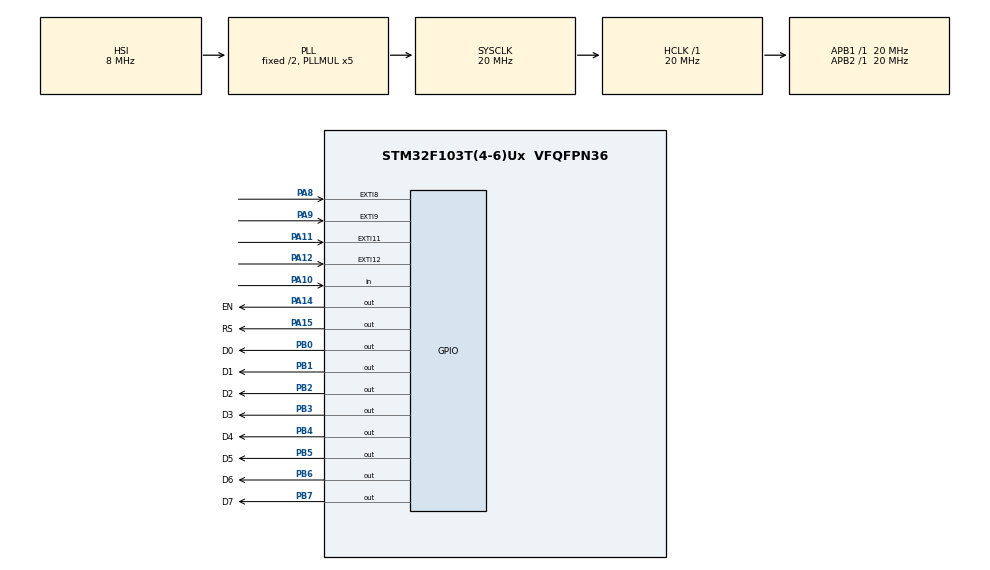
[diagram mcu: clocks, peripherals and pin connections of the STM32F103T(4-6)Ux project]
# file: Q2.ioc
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Mcu.Family=STM32F1
Mcu.Name=STM32F103T(4-6)Ux
Mcu.Package=VFQFPN36
NVIC.EXTI15_10_IRQn=true\:0\:0\:false\:false\:true\:true\:true\:true
NVIC.EXTI9_5_IRQn=true\:0\:0\:false\:false\:true\:true\:true\:true
NVIC.PriorityGroup=NVIC_PRIORITYGROUP_4
PA10.Signal=GPIO_Input
PA11.GPIO_ModeDefaultEXTI=GPIO_MODE_IT_FALLING
PA11.Signal=GPXTI11
PA12.Signal=GPXTI12
PA14.GPIO_Label=EN
PA14.Signal=GPIO_Output
PA15.GPIO_Label=RS
PA15.Signal=GPIO_Output
PA8.GPIO_ModeDefaultEXTI=GPIO_MODE_IT_FALLING
PA8.Signal=GPXTI8
PA9.Signal=GPXTI9
PB0.GPIO_Label=D0
PB0.Signal=GPIO_Output
PB1.GPIO_Label=D1
PB1.Signal=GPIO_Output
PB2.GPIO_Label=D2
PB2.Signal=GPIO_Output
PB3.GPIO_Label=D3
PB3.Signal=GPIO_Output
PB4.GPIO_Label=D4
PB4.Signal=GPIO_Output
PB5.GPIO_Label=D5
PB5.Signal=GPIO_Output
PB6.GPIO_Label=D6
PB6.Signal=GPIO_Output
PB7.GPIO_Label=D7
PB7.Signal=GPIO_Output
PD0-OSC_IN.Mode=HSE-External-Oscillator
PD0-OSC_IN.Signal=RCC_OSC_IN
PD1-OSC_OUT.Mode=HSE-External-Oscillator
PD1-OSC_OUT.Signal=RCC_OSC_OUT
ProjectManager.HeapSize=0x200
ProjectManager.StackSize=0x400
ProjectManager.TargetToolchain=STM32CubeIDE
RCC.AHBFreq_Value=20000000
RCC.APB1Freq_Value=20000000
RCC.APB1TimFreq_Value=20000000
RCC.APB2Freq_Value=20000000
RCC.APB2TimFreq_Value=20000000
RCC.HCLKFreq_Value=20000000
RCC.PLLMUL=RCC_PLL_MUL5
RCC.SYSCLKFreq_VALUE=20000000
RCC.SYSCLKSource=RCC_SYSCLKSOURCE_PLLCLK
RCC.USBFreq_Value=20000000
VP_SYS_VS_ND.Mode=No_Debug
VP_TIM1_VS_ClockSourceINT.Mode=Internal
board=custom

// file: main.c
/* USER CODE BEGIN Header */
/**
  ******************************************************************************
  * @file           : main.c
  * @brief          : Main program body
  ******************************************************************************
  * @attention
  *
  * <h2><center>&copy; Copyright (c) 2022 STMicroelectronics.
  * All rights reserved.</center></h2>
  *
  * This software component is licensed by ST under BSD 3-Clause license,
  * the "License"; You may not use this file except in compliance with the
  * License. You may obtain a copy of the License at:
  *                        opensource.org/licenses/BSD-3-Clause
  *
  ******************************************************************************
  */
/* USER CODE END Header */

#include "main.h"

/* USER CODE BEGIN Includes */
#include "lcd.h"

/* USER CODE END Includes */

TIM_HandleTypeDef htim1;

void SystemClock_Config(void);
static void MX_GPIO_Init(void);
static void MX_TIM1_Init(void);

/* USER CODE BEGIN 0 */
int cw=0;
int x=0;
int F;
float rpm;
int counter=0;
float measure_x1=0,measure_x2=0,measure_x4=0;

/* USER CODE END 0 */

int main(void)
{

  /* MCU Configuration--------------------------------------------------------*/

  /* Reset of all peripherals, Initializes the Flash interface and the Systick. */
  HAL_Init();

  /* Configure the system clock */
  SystemClock_Config();

  /* Initialize all configured peripherals */
  MX_GPIO_Init();
  MX_TIM1_Init();
  /* USER CODE BEGIN 2 */
  HAL_TIM_Base_Start_IT(&htim1);
  Lcd_PortType ports[]={D0_GPIO_Port,D1_GPIO_Port, D2_GPIO_Port, D3_GPIO_Port, D4_GPIO_Port, D5_GPIO_Port, D6_GPIO_Port, D7_GPIO_Port};
  Lcd_PinType pins[]={D0_Pin, D1_Pin, D2_Pin, D3_Pin, D4_Pin, D5_Pin, D6_Pin, D7_Pin};
  Lcd_HandleTypeDef lcd = Lcd_create(ports, pins, RS_GPIO_Port, RS_Pin, EN_GPIO_Port, EN_Pin, LCD_8_BIT_MODE);

  /* USER CODE END 2 */

  /* Infinite loop */
  /* USER CODE BEGIN WHILE */
  while (1)
  {
	  Lcd_clear(&lcd);
	  F=(1000000/x);
	  	 rpm=((F*60)/235.0);
	  	 if(cw==1){
			 Lcd_cursor(&lcd, 0, 0);
			 Lcd_float(&lcd, rpm);
			 Lcd_cursor(&lcd, 1, 0);
			 Lcd_string(&lcd, "CW");

	  	 }
	  	 if(cw==-1){
			 Lcd_cursor(&lcd, 0, 0);
			 Lcd_float(&lcd, rpm);
			 Lcd_cursor(&lcd, 1, 0);
			 Lcd_string(&lcd, "CCW");

	  	 }
	  	HAL_Delay(10);
    /* USER CODE END WHILE */

  }
}

void SystemClock_Config(void)
{
  RCC_OscInitTypeDef RCC_OscInitStruct = {0};
  RCC_ClkInitTypeDef RCC_ClkInitStruct = {0};

  /** Initializes the CPU, AHB and APB busses clocks
  */
  RCC_OscInitStruct.OscillatorType = RCC_OSCILLATORTYPE_HSI;
  RCC_OscInitStruct.HSIState = RCC_HSI_ON;
  RCC_OscInitStruct.HSICalibrationValue = RCC_HSICALIBRATION_DEFAULT;
  RCC_OscInitStruct.PLL.PLLState = RCC_PLL_ON;
  RCC_OscInitStruct.PLL.PLLSource = RCC_PLLSOURCE_HSI_DIV2;
  RCC_OscInitStruct.PLL.PLLMUL = RCC_PLL_MUL5;
  if (HAL_RCC_OscConfig(&RCC_OscInitStruct) != HAL_OK)
  {
    Error_Handler();
  }
  /** Initializes the CPU, AHB and APB busses clocks
  */
  RCC_ClkInitStruct.ClockType = RCC_CLOCKTYPE_HCLK|RCC_CLOCKTYPE_SYSCLK
                              |RCC_CLOCKTYPE_PCLK1|RCC_CLOCKTYPE_PCLK2;
  RCC_ClkInitStruct.SYSCLKSource = RCC_SYSCLKSOURCE_PLLCLK;
  RCC_ClkInitStruct.AHBCLKDivider = RCC_SYSCLK_DIV1;
  RCC_ClkInitStruct.APB1CLKDivider = RCC_HCLK_DIV1;
  RCC_ClkInitStruct.APB2CLKDivider = RCC_HCLK_DIV1;

  if (HAL_RCC_ClockConfig(&RCC_ClkInitStruct, FLASH_LATENCY_0) != HAL_OK)
  {
    Error_Handler();
  }
}

static void MX_TIM1_Init(void)
{

  TIM_ClockConfigTypeDef sClockSourceConfig = {0};
  TIM_MasterConfigTypeDef sMasterConfig = {0};

  htim1.Instance = TIM1;
  htim1.Init.Prescaler = 0;
  htim1.Init.CounterMode = TIM_COUNTERMODE_UP;
  htim1.Init.Period = 0;
  htim1.Init.ClockDivision = TIM_CLOCKDIVISION_DIV1;
  htim1.Init.RepetitionCounter = 0;
  htim1.Init.AutoReloadPreload = TIM_AUTORELOAD_PRELOAD_DISABLE;
  if (HAL_TIM_Base_Init(&htim1) != HAL_OK)
  {
    Error_Handler();
  }
  sClockSourceConfig.ClockSource = TIM_CLOCKSOURCE_INTERNAL;
  if (HAL_TIM_ConfigClockSource(&htim1, &sClockSourceConfig) != HAL_OK)
  {
    Error_Handler();
  }
  sMasterConfig.MasterOutputTrigger = TIM_TRGO_RESET;
  sMasterConfig.MasterSlaveMode = TIM_MASTERSLAVEMODE_DISABLE;
  if (HAL_TIMEx_MasterConfigSynchronization(&htim1, &sMasterConfig) != HAL_OK)
  {
    Error_Handler();
  }

}

static void MX_GPIO_Init(void)
{
  GPIO_InitTypeDef GPIO_InitStruct = {0};

  /* GPIO Ports Clock Enable */
  __HAL_RCC_GPIOD_CLK_ENABLE();
  __HAL_RCC_GPIOB_CLK_ENABLE();
  __HAL_RCC_GPIOA_CLK_ENABLE();

  /*Configure GPIO pin Output Level */
  HAL_GPIO_WritePin(GPIOB, D0_Pin|D1_Pin|D2_Pin|D3_Pin
                          |D4_Pin|D5_Pin|D6_Pin|D7_Pin, GPIO_PIN_RESET);

  /*Configure GPIO pin Output Level */
  HAL_GPIO_WritePin(GPIOA, EN_Pin|RS_Pin, GPIO_PIN_RESET);

  /*Configure GPIO pins : D0_Pin D1_Pin D2_Pin D3_Pin
                           D4_Pin D5_Pin D6_Pin D7_Pin */
  GPIO_InitStruct.Pin = D0_Pin|D1_Pin|D2_Pin|D3_Pin
                          |D4_Pin|D5_Pin|D6_Pin|D7_Pin;
  GPIO_InitStruct.Mode = GPIO_MODE_OUTPUT_PP;
  GPIO_InitStruct.Pull = GPIO_NOPULL;
  GPIO_InitStruct.Speed = GPIO_SPEED_FREQ_LOW;
  HAL_GPIO_Init(GPIOB, &GPIO_InitStruct);

  /*Configure GPIO pins : PA8 PA11 */
  GPIO_InitStruct.Pin = GPIO_PIN_8|GPIO_PIN_11;
  GPIO_InitStruct.Mode = GPIO_MODE_IT_FALLING;
  GPIO_InitStruct.Pull = GPIO_NOPULL;
  HAL_GPIO_Init(GPIOA, &GPIO_InitStruct);

  /*Configure GPIO pins : PA9 PA12 */
  GPIO_InitStruct.Pin = GPIO_PIN_9|GPIO_PIN_12;
  GPIO_InitStruct.Mode = GPIO_MODE_IT_RISING;
  GPIO_InitStruct.Pull = GPIO_NOPULL;
  HAL_GPIO_Init(GPIOA, &GPIO_InitStruct);

  /*Configure GPIO pin : PA10 */
  GPIO_InitStruct.Pin = GPIO_PIN_10;
  GPIO_InitStruct.Mode = GPIO_MODE_INPUT;
  GPIO_InitStruct.Pull = GPIO_NOPULL;
  HAL_GPIO_Init(GPIOA, &GPIO_InitStruct);

  /*Configure GPIO pins : EN_Pin RS_Pin */
  GPIO_InitStruct.Pin = EN_Pin|RS_Pin;
  GPIO_InitStruct.Mode = GPIO_MODE_OUTPUT_PP;
  GPIO_InitStruct.Pull = GPIO_NOPULL;
  GPIO_InitStruct.Speed = GPIO_SPEED_FREQ_LOW;
  HAL_GPIO_Init(GPIOA, &GPIO_InitStruct);

  /* EXTI interrupt init*/
  HAL_NVIC_SetPriority(EXTI9_5_IRQn, 0, 0);
  HAL_NVIC_EnableIRQ(EXTI9_5_IRQn);

  HAL_NVIC_SetPriority(EXTI15_10_IRQn, 0, 0);
  HAL_NVIC_EnableIRQ(EXTI15_10_IRQn);

}

/* USER CODE BEGIN 4 */
void HAL_GPIO_EXTI_Callback(uint16_t GPIO_Pin)
{
		if(GPIO_Pin==GPIO_PIN_8)
		{
			counter=TIM1->CNT;
			HAL_TIM_Base_Stop_IT(&htim1);
			measure_x2++;
			if(measure_x2>=470){
				measure_x2=0;
			}
			measure_x4++;
			if(measure_x4>=940){
				measure_x4=0;
			}
			x=counter;
		}
		if(GPIO_Pin==GPIO_PIN_9)
		{
			if(!HAL_GPIO_ReadPin(GPIOA,GPIO_PIN_10)){
				cw=1;
			}
			else{
				cw=-1;
			}
			x=counter;
			TIM1->CNT=counter=0;
			HAL_TIM_Base_Start_IT(&htim1);
			measure_x1++;
			if(measure_x1>=235){
				measure_x1=0;
			}
			measure_x2++;
			if(measure_x2>=470){
				measure_x2=0;
			}
			measure_x4++;
			if(measure_x4>=940){
				measure_x4=0;
			}
		}
		if(GPIO_Pin==GPIO_PIN_11){
			measure_x4++;
			if(measure_x4>=940){
				measure_x4=0;
			}
		}
		if(GPIO_Pin==GPIO_PIN_12){
			measure_x4++;
			if(measure_x4>=940){
				measure_x4=0;
			}
		}

}
/* USER CODE END 4 */

void Error_Handler(void)
{
}

/************************ (C) COPYRIGHT STMicroelectronics *****END OF FILE****/
